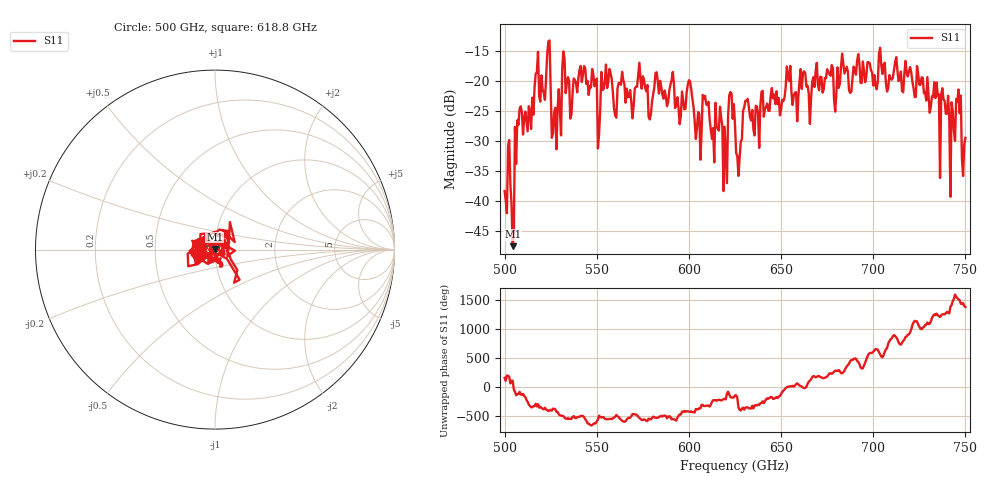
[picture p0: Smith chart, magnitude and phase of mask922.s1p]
!Created with skrf (http://scikit-rf.org).
# GHz S MA R 50.0
!freq magS11 angS11
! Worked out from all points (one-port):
!   401 points, 500 GHz to 750 GHz, reference 50 ohm
!   lowest |S11| = -47.5 dB at 504.4 GHz (marker M1), VSWR 1.01, Z = 49.9 + j0.405 ohm
!   |S11| at or under -10 dB: start of sweep to end of sweep
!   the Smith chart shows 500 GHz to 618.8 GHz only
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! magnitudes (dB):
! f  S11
! 500 GHz  -38.3
! 504.4 GHz  -47.5
! 508.1 GHz  -24.7
! 523.8 GHz  -13.4
! 526.9 GHz  -25.2
! 531.2 GHz  -18.0
! 548.8 GHz  -20.9
! 551.9 GHz  -24.8
! 553.8 GHz  -21.3
! 562.5 GHz  -20.3
! 574.4 GHz  -21.3
! 579.4 GHz  -25.5
! 590.6 GHz  -19.8
! 593.8 GHz  -22.7
! 600.6 GHz  -20.1
! 605 GHz  -25.2
! 608.8 GHz  -22.5
! 619.4 GHz  -27.6
! 623.1 GHz  -22.1
! 625 GHz  -27.3
! 626.9 GHz  -35.8
! 630.6 GHz  -23.3
! 656.2 GHz  -24.0
! 687.5 GHz  -22.0
! 718.8 GHz  -19.3
! 743.1 GHz  -25.0
! 746.2 GHz  -21.4
! 750 GHz  -29.5
